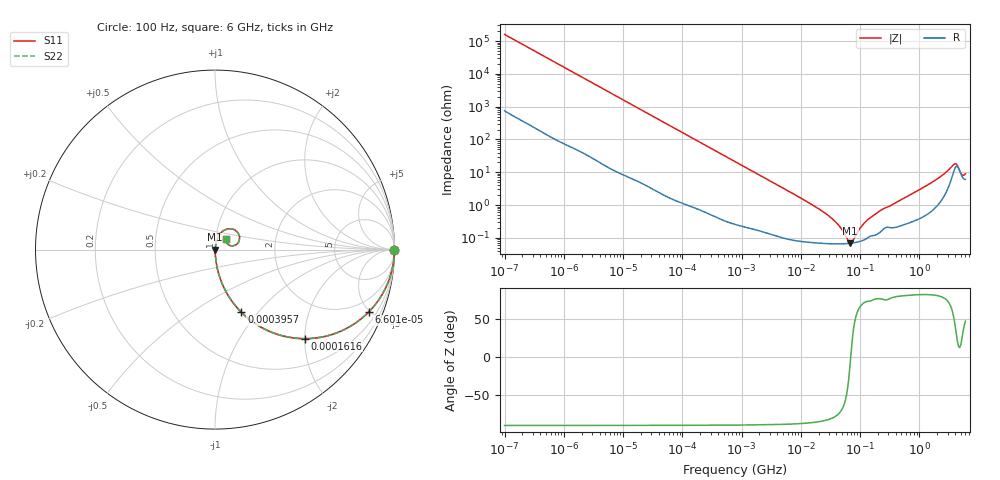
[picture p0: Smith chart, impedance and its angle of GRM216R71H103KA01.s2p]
!Murata Part Number: GRM216R71H103KA01
!These Parameters are Measured in Series Mode Connection
!Data Generated on Mar 30, 2021
!  o--ll--o
!Port1  Port2
!  o------o
!Operation Temp=25[degC], DC Bias Voltage=0[V]
!Freq. Start=100[Hz] Stop=6[GHz] 401[Steps]
# Hz S RI R 50
!Freq.(Hz) S11(Real) S11(Imag) S21(Real) S21(Imag) S12(Real) S12(Imag) S22(Real) S22(Imag)
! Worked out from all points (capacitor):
!   401 points, 100 Hz to 6 GHz, reference 50 ohm
!   read as one part in series: C = 10 nF near 109 Hz
!   lowest |Z| = 69.4 mohm at 68.17 MHz (marker M1)
!   series resonance near 69.51 MHz, so ESL is about 520 pH
!   S11 on the Smith chart (normalised r, x): 100 Hz: open; 66 kHz: 1.03, -4.90; 161.6 kHz: 1.02, -2.01; 395.7 kHz: 1.01, -0.82; 6 GHz: 1.12, +0.13
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100  1 -0.000632  3.4e-06 0.000632  3.4e-06 0.000632  1 -0.000632
2008  0.9998 -0.0126  0.000222 0.0126  0.000222 0.0126  0.9998 -0.0126
12041  0.994 -0.0745  0.00599 0.0745  0.00599 0.0745  0.994 -0.0745
40335  0.9399 -0.2346  0.0601 0.2346  0.0601 0.2346  0.9399 -0.2346
66005  0.8554 -0.3485  0.1446 0.3485  0.1446 0.3485  0.8554 -0.3485
161617  0.5017 -0.4959  0.4983 0.4959  0.4983 0.4959  0.5017 -0.4959
395726  0.1474 -0.3496  0.8526 0.3496  0.8526 0.3496  0.1474 -0.3496
774597  0.0449 -0.201  0.9551 0.201  0.9551 0.201  0.0449 -0.201
2481164  0.00583 -0.0659  0.9942 0.0659  0.9942 0.0659  0.00583 -0.0659
1.555665e7  0.000823 -0.0102  0.9992 0.0102  0.9992 0.0102  0.000823 -0.0102
3.80911e7  0.000666 -0.00309  0.9993 0.00309  0.9993 0.00309  0.000666 -0.00309
6.817316e7  0.000687 -9.35e-05  0.9993 9.35e-05  0.9993 9.35e-05  0.000687 -9.35e-05
7.455971e7  0.000702 0.000342  0.9993 -0.000342  0.9993 -0.000342  0.000702 0.000342
1.020051e8  0.000796 0.00192  0.9992 -0.00192  0.9992 -0.00192  0.000796 0.00192
1.334425e8  0.00101 0.0034  0.999 -0.0034  0.999 -0.0034  0.00101 0.0034
3.124326e8  0.00215 0.00897  0.9978 -0.00897  0.9978 -0.00897  0.00215 0.00897
1.637704e9  0.00898 0.0483  0.991 -0.0483  0.991 -0.0483  0.00898 0.0483
2.802721e9  0.0313 0.0912  0.9687 -0.0912  0.9687 -0.0912  0.0313 0.0912
3.8344e9  0.1106 0.1097  0.8894 -0.1097  0.8894 -0.1097  0.1106 0.1097
4.193612e9  0.1379 0.0707  0.8621 -0.0707  0.8621 -0.0707  0.1379 0.0707
5.245841e9  0.0712 0.0297  0.9288 -0.0297  0.9288 -0.0297  0.0712 0.0297
6e9  0.0608 0.0591  0.9392 -0.0591  0.9392 -0.0591  0.0608 0.0591
